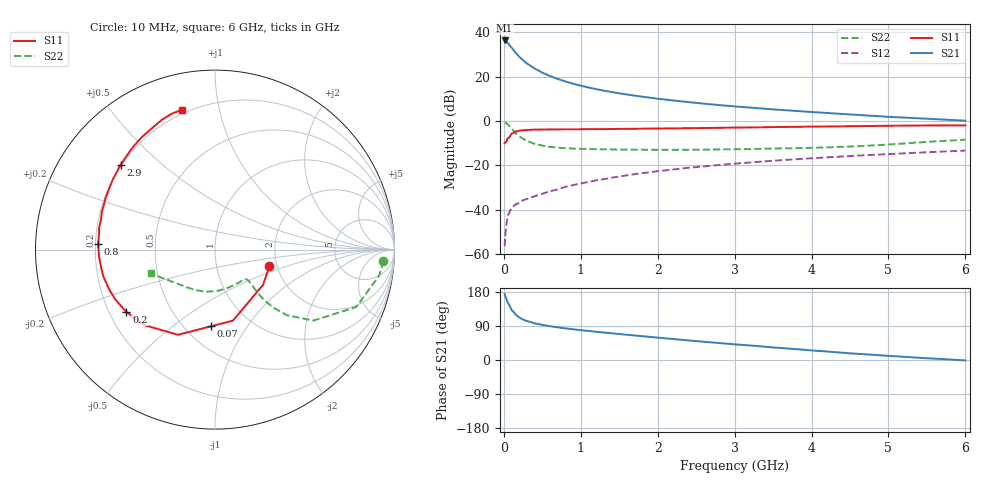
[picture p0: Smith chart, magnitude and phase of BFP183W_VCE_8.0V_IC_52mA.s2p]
! Infineon Technologies  Discrete & RF Semiconductors
! BFP183W
! VCE =  8.0 V,  IC =  52 mA
! Common Emitter S-Parameters:  Jan 2017
# GHz  S  MA  R  50
!  f  S11  S21  S12  S22
! GHz  MAG  ANG  MAG  ANG  MAG  ANG  MAG  ANG
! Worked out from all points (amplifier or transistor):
!   77 points, 10 MHz to 6 GHz, reference 50 ohm
!   highest |S21| = 36.4 dB at 10 MHz (marker M1)
!   |S21| within 3 dB of that: start of sweep to 94.35 MHz
!   unconditionally stable (mu >= 1): 645.6 MHz to 3.377 GHz
!   at 130 MHz: K = 0.40, MSG = 35.1 dB, |S12| = -38.3 dB
!   at 2.2 GHz: K = 1.08, MAG = 13.9 dB, |S12| = -21.9 dB
!   at 6 GHz: K = 0.85, MSG = 6.7 dB, |S12| = -13.3 dB
!   S11 on the Smith chart (normalised r, x): 10 MHz: 1.82, -0.38; 70 MHz: 0.67, -0.70; 200 MHz: 0.27, -0.30; 800 MHz: 0.21, +0.02; 2.9 GHz: 0.20, +0.37; 6 GHz: 0.18, +0.77
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0.01  0.3173 -17.1  65.82 174.1  0.0015 80.5  0.9406 -3.9
0.02  0.332 -36.2  64.36 167.9  0.0027 77.7  0.9258 -9.0
0.05  0.4082 -75.8  58.31 152.0  0.007 65.7  0.85 -22.1
0.07  0.4279 -93.0  52.46 145.3  0.0085 62.4  0.7755 -26.8
0.1  0.5175 -113.5  45.44 132.4  0.0109 59.2  0.6763 -35.8
0.15  0.5771 -133.3  35.36 120.4  0.0131 52.7  0.5423 -42.4
0.2  0.6037 -144.9  28.3 112.4  0.0142 51.3  0.4549 -44.9
0.25  0.6205 -153.2  23.47 106.7  0.0163 48.8  0.3965 -45.7
0.3  0.6291 -158.8  19.91 102.7  0.0174 50.2  0.3549 -45.6
0.4  0.6402 -166.7  15.3 96.8  0.0201 56.0  0.3055 -44.5
0.5  0.6426 -172.2  12.35 92.6  0.0229 57.2  0.2786 -43.6
0.6  0.6469 -176.2  10.37 89.2  0.026 59.8  0.2614 -43.0
0.7  0.6486 -179.7  8.908 86.3  0.0286 62.4  0.2509 -42.7
0.8  0.6515 177.3  7.822 83.5  0.0328 64.6  0.2443 -43.1
1.1  0.6567 169.8  5.723 76.7  0.0421 66.2  0.2342 -45.7
1.5  0.6646 161.6  4.22 68.6  0.0559 66.5  0.2274 -51.7
2.1  0.6796 150.5  3.051 57.2  0.0771 65.7  0.2241 -64.6
2.9  0.7068 137.9  2.214 43.1  0.1055 61.8  0.2297 -85.9
3.1  0.7132 135.0  2.075 39.9  0.1125 60.6  0.2319 -91.3
4.1  0.7507 121.6  1.559 23.8  0.148 54.2  0.2516 -118.1
5.1  0.7838 111.3  1.221 9.7  0.183 47.6  0.3032 -144.7
6  0.8002 103.4  1.019 -1.1  0.2154 41.1  0.3789 -159.9
